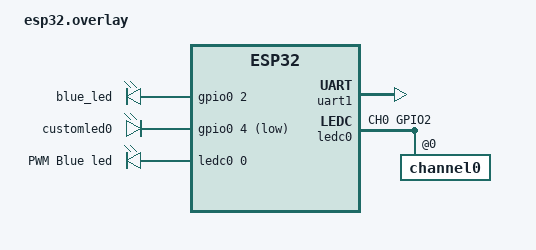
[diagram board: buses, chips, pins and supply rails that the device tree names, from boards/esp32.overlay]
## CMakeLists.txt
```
cmake_minimum_required(VERSION 3.20.0)

find_package(Zephyr REQUIRED HINTS $ENV{ZEPHYR_BASE})

project(Soln08_Zephyr)

target_include_directories(app PRIVATE inc/)

target_sources(app PRIVATE src/main.cpp src/uartpolling.cpp)
```

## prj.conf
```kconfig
#
# C++ Language Support
#
CONFIG_CPP=y
CONFIG_STD_CPP17=y
CONFIG_REQUIRES_FULL_LIBCPP=y
CONFIG_GLIBCXX_LIBCPP=y

# GPIO CONFIG
CONFIG_GPIO=y

# for NRF, to avoid undefined reference for k_malloc()
CONFIG_HEAP_MEM_POOL_SIZE=256

#
# Logging
#
CONFIG_LOG=y
CONFIG_LOG_CORE_INIT_PRIORITY=0
CONFIG_LOG_MODE_DEFERRED=y
#
# PWM config
#
CONFIG_PWM=y
```

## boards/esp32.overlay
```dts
/*
 * SPDX-License-Identifier: Apache-2.0
 *
 * Copyright (c) 2021 Andrei-Edward Popa
 * Copyright (c) 2022 Espressif Systems (Shanghai) Co., Ltd.
 * Akshay Narahari Kulkarni <akshaynkulkarni@gmail.com>
 */
/ {
	aliases {
		userled0 = &customled0;
		usercom0 = &uart0;
		usercom1 = &uart1; // Tx: GPIO 27, RX: GPIO 26
		led0 = &blue_led;
		user-pwm-0 = &ledc0;
		user-pwm-led = &pwm_led4;
	};

	leds {
		compatible = "gpio-leds";
		blue_led: led_0 {
			gpios = <&gpio0 2 GPIO_ACTIVE_HIGH>;
		};
		customled0: user_led0 {
			gpios = <&gpio0 4 (GPIO_ACTIVE_LOW)>;
		};
	};

	//Inspired from sample pwm esp32 dts
	pwmleds {
		compatible = "pwm-leds";
		pwm_led4: gpio0_2 {
			label = "PWM Blue led";
			pwms = <&ledc0 0 PWM_MSEC(10U) PWM_POLARITY_NORMAL>;
		};
	};
};
//Override the pins; GPIO 9 and GPIO 10 are connected to flash. 
&pinctrl {
	uart1_default: uart1_default {
		group1 {
			pinmux = <UART1_TX_GPIO27>;
			output-high;
		};
		group2 {
			pinmux = <UART1_RX_GPIO26>;
			bias-pull-up;
		};
	};

	ledc0_default: ledc0_default {
		group1 {
			pinmux = <LEDC_CH0_GPIO2>;
			output-enable;
		};
	};
};

&uart1 {
	status = "okay";
};

&ledc0 {
	status = "okay";
	pinctrl-0 = <&ledc0_default>;
	pinctrl-names = "default";
	#address-cells = <1>;
	#size-cells = <0>;
	
	channel0@0 {
		reg = <0x0>;
		timer = <0>;
	};
};
```

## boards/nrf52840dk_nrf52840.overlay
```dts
/*
 * SPDX-License-Identifier: Apache-2.0
 *
 * Akshay Narahari Kulkarni <akshaynkulkarni@gmail.com>
 */
/ {
	aliases {
		userled0 = &customled0;
		usercom0 = &uart0; //usb com
		usercom1 = &uart1; // RX: P1.1 and TX: P1.2
		user-pwm-0 = &pwm0;
		user-pwm-led = &pwm_led0;
	};

	leds {
		customled0: user_led0 {
			gpios = <&gpio0 04 GPIO_ACTIVE_LOW>;
		};
	};
};

&uart1 {
	status = "okay";
};
```

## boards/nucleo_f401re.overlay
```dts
/*
 * SPDX-License-Identifier: Apache-2.0
 *
 * Akshay Narahari Kulkarni <akshaynkulkarni@gmail.com>
 */
/ {
	aliases {
		userled0 = &customled0;
		usercom0 = &usart2; //usb com
		usercom1 = &usart1; // RX: P1.1 and TX: P1.2 
		user-pwm-0 = &pwm2;
		user-pwm-led = &green_pwm_led;
	};

	leds {
		customled0: user_led0 {
			gpios = <&gpioa 04 GPIO_ACTIVE_LOW>;
		};
	};
};
```

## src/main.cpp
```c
#include <atomic>
#include <cstring>
#include <iostream>
#include <string>

#include <zephyr/device.h>
#include <zephyr/drivers/gpio.h>
#include <zephyr/drivers/pwm.h>
#include <zephyr/kernel.h>
#include <zephyr/logging/log.h>

#include "uartpolling.h"

#define LED_DELAY_DEF (500U)
#define UART_DELAY (100U)

LOG_MODULE_REGISTER(main, CONFIG_LOG_DEFAULT_LEVEL);

// Threads
#if CONFIG_BOARD_ESP
constexpr size_t kThreadStackSize = 4 * 1024;
#else
constexpr size_t kThreadStackSize = 2 * 1024;
#endif

static k_thread thread_0;

static k_tid_t thread_0_tid;

K_THREAD_STACK_DEFINE(stack_thread_0, kThreadStackSize);

constexpr int thread_0_prio = 10;

constexpr const device *uart_port = (DEVICE_DT_GET(DT_ALIAS(usercom0)));

UartPolling user_com_port{uart_port};

constexpr const pwm_dt_spec pwm_led = PWM_DT_SPEC_GET(DT_ALIAS(user_pwm_led));

using pwm_type = uint32_t;
// Inspired from sample codes under Zephyr repo
constexpr pwm_type kMinPWMPeriod = PWM_SEC(0U);

#if CONFIG_BOARD_ESP322
constexpr pwm_type kMaxPWMPeriod = PWM_MSEC(0.5f);
#else
constexpr pwm_type kMaxPWMPeriod = PWM_MSEC(10U); // 20U
#endif

constexpr pwm_type kBrightnessLevels = 100U;

static pwm_type max_period = kMaxPWMPeriod;

// timer
k_timer led_off_timer;

void led_off_work_handler(struct k_work *work);
void led_off_timer_expiry_handler(k_timer *id);

k_work led_off_work = {
    .handler = led_off_work_handler,
};

void led_off_work_handler(struct k_work *work) {

  int ret;

  static pwm_type pulse_width;
  pulse_width = max_period;
  pwm_type level = kBrightnessLevels;

  pwm_set_dt(&pwm_led, max_period, max_period);

  while (level) {

    pulse_width = ((--level) * max_period) / kBrightnessLevels;

    // ret = pwm_set_dt(&pwm_led, max_period, pulse_width);
    ret = pwm_set_pulse_dt(&pwm_led, pulse_width);

    if (ret) {
      LOG_ERR("Error setting pulse width: %d\n", ret);
      LOG_ERR("pulse_width %u, level %u, max: %u: \n", pulse_width, level,
              max_period);
      break;
    }

    LOG_DBG("pulse_width %u, level %u, max: %u: \n", pulse_width, level,
            max_period);
    k_msleep(10U); // 10ms
  }
  pwm_set_dt(&pwm_led, max_period, 0); // turn off the led completely
}

void led_off_timer_expiry_handler(k_timer *id) {
  // handle timer expiry
  k_work_submit(&led_off_work);
}

static void uart_read_thread(void *param1, void *param2, void *param3) {
  int ret = 0;
  size_t index = 0;
  size_t read_buff_size = 100;
  unsigned char read_buff[read_buff_size] = {'0'};

  while (true) {

    do {
      while (!(ret = user_com_port.Read(read_buff[index]))) {
        user_com_port.Write(read_buff[index++]);

        if (index > read_buff_size - 1) {
          index = read_buff_size - 1;
          ret = 1;
          break;
        }
        // k_msleep(2.5 * UART_DELAY);
      }
    } while (!ret);

    if (index) {
      int ret = pwm_set_dt(&pwm_led, max_period, max_period);
      if (ret) {
        LOG_ERR("Error setting pulse width: %d\n", ret);
        LOG_ERR("pulse_width %d, max: %u: \n", max_period, max_period);
      }
      k_timer_start(&led_off_timer, K_MSEC(5000), K_NO_WAIT);
    }

    read_buff[index] = '\0';
    memset(read_buff, 0, index + 1); // clear the local buffer
    index = 0;
    k_msleep(UART_DELAY);
  }
}

extern "C" int main(void) {

  if (!device_is_ready(pwm_led.dev)) {
    LOG_ERR("PWM led %s is not ready", pwm_led.dev->name);
    return 0;
  }
  LOG_INF("Calibrating for PWM channel %d...", pwm_led.channel);

  while (pwm_set_dt(&pwm_led, max_period, max_period / 2U)) {
    max_period /= 2U;
    if (max_period < (4U * kMinPWMPeriod)) {
      LOG_ERR("PWM led: min period %u not supported", 4U * kMinPWMPeriod);
      return 0;
    }
  }
  // Turn off the led
  pwm_set_dt(&pwm_led, max_period, 0);

  LOG_INF("PWM led: Done calibrating; maximum/minimum periods %u/%u nsec",
          max_period, kMinPWMPeriod);

  if (!user_com_port.Init()) {
    LOG_ERR("uart config failed ...");
    return 0;
  }

  if (!user_com_port.IsReady()) {
    LOG_ERR("uart port not found...");
    return 0;
  }

  k_timer_init(&led_off_timer, led_off_timer_expiry_handler, nullptr);

  LOG_INF("Starting uart Thread ...");

  thread_0_tid = k_thread_create(
      &thread_0, stack_thread_0, K_THREAD_STACK_SIZEOF(stack_thread_0),
      uart_read_thread, NULL, NULL, NULL, thread_0_prio, K_USER, K_NO_WAIT);

  while (true) {
    // Do nothing
    k_msleep(2 * LED_DELAY_DEF);
  }

  return 0;
}
```
